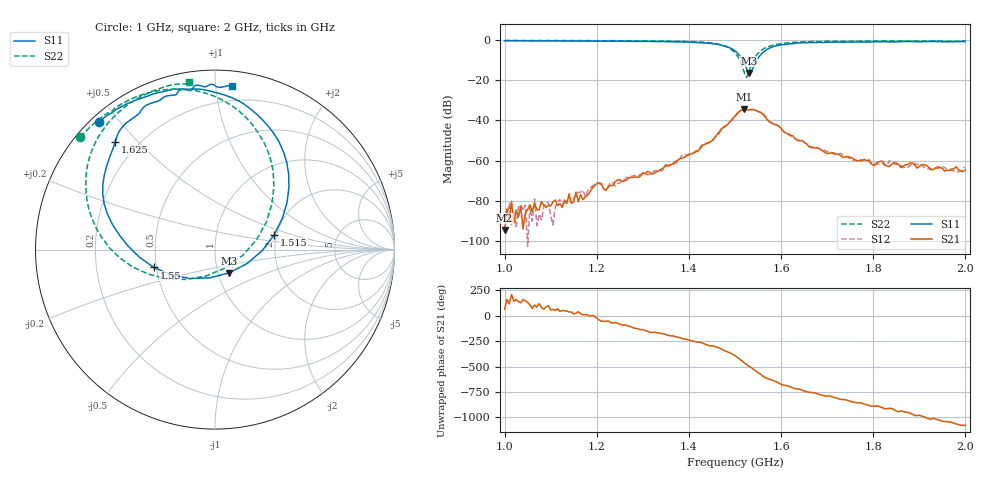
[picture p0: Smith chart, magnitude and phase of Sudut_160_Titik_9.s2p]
# Hz S RI R 50
! CMT, C1220, 16058040, 17.2.0/1
! Date: 14/08/2018 11:56:35
! Data: Format (Calibration Info)
! Freq  S11: Re/Im (F2)  S21: Re/Im (F2)  S12: Re/Im (F2)  S22: Re/Im (F2)
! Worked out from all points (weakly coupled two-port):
!   201 points, 1 GHz to 2 GHz, reference 50 ohm
!   highest |S21| = -34.44 dB at 1.52 GHz (marker M1); lowest = -94.4 dB at 1 GHz (marker M2)
!   lowest |S11| = -16.4 dB at 1.53 GHz (marker M3), VSWR 1.36, Z = 56.5 - j15 ohm
!   |S11| at or under -10 dB: 1.516 GHz to 1.548 GHz (31.11 MHz wide, 2.03 % of centre)
!   |S22| runs from -18.6 to -0.2 dB; largest |S21 - S12| = 0.00083
!   S11 on the Smith chart (normalised r, x): 1 GHz: 0.02, +0.44; 1.515 GHz: 1.94, +0.36; 1.55 GHz: 0.48, -0.11; 1.625 GHz: 0.12, +0.43; 2 GHz: 0.10, +1.10
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1e9  -0.6443 0.7117  7.97e-06 1.73e-05  -3.97e-05 2.5e-05  -0.7498 0.627
1.135e9  -0.5055 0.8042  6.03e-05 6.13e-05  7.1e-05 6.79e-05  -0.6465 0.7273
1.14e9  -0.5009 0.807  0.000121 9.07e-05  0.000103 5.14e-05  -0.6417 0.7306
1.145e9  -0.4971 0.809  7.03e-05 5.25e-05  8.9e-05 -2.1e-05  -0.6371 0.734
1.155e9  -0.49 0.8129  0.000149 7.21e-05  0.00011 6.52e-05  -0.6276 0.7415
1.17e9  -0.4721 0.821  0.000106 1.92e-05  0.000182 4.11e-05  -0.6122 0.7523
1.175e9  -0.4638 0.8243  0.000122 2.39e-05  0.000124 2.51e-05  -0.6064 0.7557
1.2e9  -0.4293 0.8369  0.000245 -0.00011  0.000246 -0.000139  -0.5781 0.7656
1.22e9  -0.4098 0.8437  0.000107 -0.000151  0.000107 -0.000142  -0.5671 0.7793
1.335e9  -0.2146 0.8939  -0.00055 -9.64e-05  -0.00061 -5.58e-05  -0.3955 0.866
1.45e9  0.1804 0.7973  0.00143 0.00276  0.00162 0.00267  0.0276 0.8399
1.5e9  0.4119 0.345  0.0111 -0.00692  0.0104 -0.00651  0.3281 0.3516
1.515e9  0.3292 0.0817  0.00159 -0.0181  0.00213 -0.0183  0.232 0.0559
1.52e9  0.2642 -0.00453  -0.00436 -0.0185  -0.0042 -0.0187  0.1553 -0.0315
1.53e9  0.0789 -0.1295  -0.0129 -0.0129  -0.0131 -0.013  -0.0497 -0.1472
1.55e9  -0.3404 -0.0997  -0.0156 0.00593  -0.0158 0.00535  -0.4585 -0.0966
1.58e9  -0.6172 0.2539  0.000383 0.00842  0.000798 0.00876  -0.7013 0.2192
1.625e9  -0.5555 0.5997  0.0041 0.000787  0.00383 0.000891  -0.6964 0.5224
1.67e9  -0.4414 0.7432  0.00169 -0.00128  0.00174 -0.00135  -0.6198 0.674
1.755e9  -0.2804 0.8518  -0.000722 -0.000891  -0.000616 -0.000778  -0.4832 0.8086
1.835e9  -0.1443 0.8867  -0.000698 0.000147  -0.00095 0.000343  -0.3699 0.8737
2e9  0.094 0.9117  0.00059 -4.85e-06  0.000682 -7.83e-05  -0.1464 0.931
